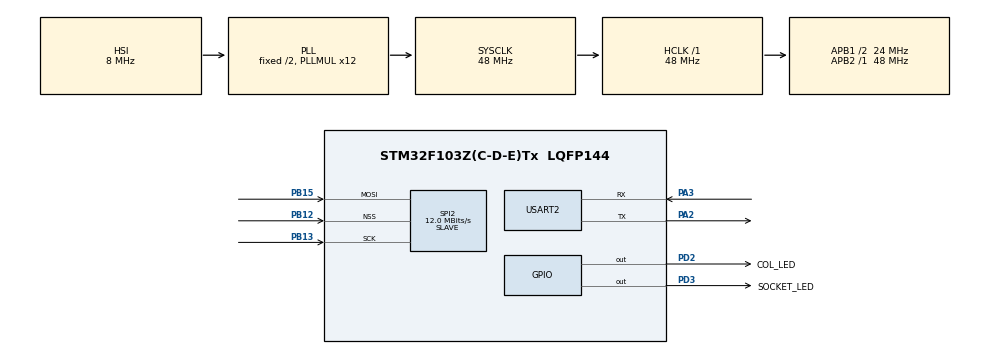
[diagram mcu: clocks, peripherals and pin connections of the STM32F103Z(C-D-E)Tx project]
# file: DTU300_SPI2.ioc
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Dma.Request0=SPI2_RX
Dma.SPI2_RX.0.Direction=DMA_PERIPH_TO_MEMORY
Dma.SPI2_RX.0.Instance=DMA1_Channel4
Dma.SPI2_RX.0.MemDataAlignment=DMA_MDATAALIGN_BYTE
Dma.SPI2_RX.0.MemInc=DMA_MINC_ENABLE
Dma.SPI2_RX.0.Mode=DMA_CIRCULAR
Dma.SPI2_RX.0.PeriphDataAlignment=DMA_PDATAALIGN_BYTE
Dma.SPI2_RX.0.PeriphInc=DMA_PINC_DISABLE
Dma.SPI2_RX.0.Priority=DMA_PRIORITY_LOW
Mcu.Family=STM32F1
Mcu.Name=STM32F103Z(C-D-E)Tx
Mcu.Package=LQFP144
NVIC.DMA1_Channel4_IRQn=true\:0\:0\:false\:false\:true\:false\:true
NVIC.PriorityGroup=NVIC_PRIORITYGROUP_4
PA13.Mode=Serial_Wire
PA13.Signal=SYS_JTMS-SWDIO
PA14.Mode=Serial_Wire
PA14.Signal=SYS_JTCK-SWCLK
PA2.Mode=Asynchronous
PA2.Signal=USART2_TX
PA3.Mode=Asynchronous
PA3.Signal=USART2_RX
PB12.Mode=NSS_Signal_Hard_Input
PB12.Signal=SPI2_NSS
PB13.Mode=RX_Only_Simplex_Unidirect_Slave
PB13.Signal=SPI2_SCK
PB15.Mode=RX_Only_Simplex_Unidirect_Slave
PB15.Signal=SPI2_MOSI
PD2.GPIO_Label=COL_LED
PD2.Signal=GPIO_Output
PD3.GPIO_Label=SOCKET_LED
PD3.Signal=GPIO_Output
ProjectManager.HeapSize=0x200
ProjectManager.StackSize=0x400
ProjectManager.TargetToolchain=TrueSTUDIO
RCC.AHBFreq_Value=48000000
RCC.APB1CLKDivider=RCC_HCLK_DIV2
RCC.APB1Freq_Value=24000000
RCC.APB1TimFreq_Value=48000000
RCC.APB2Freq_Value=48000000
RCC.APB2TimFreq_Value=48000000
RCC.HCLKFreq_Value=48000000
RCC.PLLMUL=RCC_PLL_MUL12
RCC.SYSCLKFreq_VALUE=48000000
RCC.SYSCLKSource=RCC_SYSCLKSOURCE_PLLCLK
RCC.USBFreq_Value=48000000
SPI2.CLKPhase=SPI_PHASE_1EDGE
SPI2.CLKPolarity=SPI_POLARITY_HIGH
SPI2.CalculateBaudRate=12.0 MBits/s
SPI2.Direction=SPI_DIRECTION_2LINES_RXONLY
SPI2.Mode=SPI_MODE_SLAVE
SPI2.VirtualNSS=VM_NSSHARD
SPI2.VirtualType=VM_SLAVE
USART2.VirtualMode=VM_ASYNC
board=custom

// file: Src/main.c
/* USER CODE BEGIN Header */
/**
  ******************************************************************************
  * @file           : main.c
  * @brief          : Main program body
  ******************************************************************************
  * @attention
  *
  * <h2><center>&copy; Copyright (c) 2019 STMicroelectronics.
  * All rights reserved.</center></h2>
  *
  * This software component is licensed by ST under BSD 3-Clause license,
  * the "License"; You may not use this file except in compliance with the
  * License. You may obtain a copy of the License at:
  *                        opensource.org/licenses/BSD-3-Clause
  *
  ******************************************************************************
  */
/* USER CODE END Header */

#include "main.h"

/* USER CODE BEGIN PM */
#define RX_BUF_SIZE 255
/* USER CODE END PM */

SPI_HandleTypeDef hspi2;
DMA_HandleTypeDef hdma_spi2_rx;

UART_HandleTypeDef huart2;

/* USER CODE BEGIN PV */
volatile uint8_t buf_index = 0;
uint8_t Tx[] = {0xFE, 0xED, 0x50, 0x11, 0x00, 0x00};
uint8_t Rx[255] = {0x00,};
/* USER CODE END PV */

void SystemClock_Config(void);
static void MX_GPIO_Init(void);
static void MX_DMA_Init(void);
static void MX_SPI2_Init(void);
static void MX_USART2_UART_Init(void);

/* USER CODE BEGIN 0 */
int _write(int file, char* p, int len)
{
  HAL_UART_Transmit(&huart2, p, len, 10);
  return len;
}
/* USER CODE END 0 */

int main(void)
{
  /* USER CODE BEGIN 1 */
  uint8_t i;
  /* USER CODE END 1 */

  /* MCU Configuration--------------------------------------------------------*/

  /* Reset of all peripherals, Initializes the Flash interface and the Systick. */
  HAL_Init();

  /* Configure the system clock */
  SystemClock_Config();

  /* Initialize all configured peripherals */
  MX_GPIO_Init();
  MX_DMA_Init();
  MX_SPI2_Init();
  MX_USART2_UART_Init();
  /* USER CODE BEGIN 2 */
  SPI2->CR2 |= 0x0040;    // RXNE interrupt enable
  SPI2->CR1 |= 0x0040;    // SPI enable

  SPI2->DR = Tx[0];       // Write initial byte

  HAL_SPI_Receive_DMA(&hspi2, Rx, RX_BUF_SIZE);
  /* USER CODE END 2 */

  /* Infinite loop */
  while (1)
  {

    /* USER CODE BEGIN 3 */
    HAL_GPIO_TogglePin(SOCKET_LED_GPIO_Port, SOCKET_LED_Pin);
    //printf("%X %d %d %d %d %d \r \n", Rx[0], Rx[1], Rx[2], Rx[3], Rx[4], Rx[5]);
    //printf("%X %X %X %X %X %X \r \n", Rx[0], Rx[1], Rx[2], Rx[3], Rx[4], Rx[5]);

    for(i=0; i<RX_BUF_SIZE; i++)
    {
      //SPI2->DR = Rx[i];
      printf("%2X ", Rx[i]);
    }
    printf("\r \n");

    //HAL_SPI_Transmit_IT(&hspi2, Rx, 6);
    HAL_Delay(200);
  }
  /* USER CODE END 3 */
}

void SystemClock_Config(void)
{
  RCC_OscInitTypeDef RCC_OscInitStruct = {0};
  RCC_ClkInitTypeDef RCC_ClkInitStruct = {0};

  /** Initializes the CPU, AHB and APB busses clocks
  */
  RCC_OscInitStruct.OscillatorType = RCC_OSCILLATORTYPE_HSI;
  RCC_OscInitStruct.HSIState = RCC_HSI_ON;
  RCC_OscInitStruct.HSICalibrationValue = RCC_HSICALIBRATION_DEFAULT;
  RCC_OscInitStruct.PLL.PLLState = RCC_PLL_ON;
  RCC_OscInitStruct.PLL.PLLSource = RCC_PLLSOURCE_HSI_DIV2;
  RCC_OscInitStruct.PLL.PLLMUL = RCC_PLL_MUL12;
  if (HAL_RCC_OscConfig(&RCC_OscInitStruct) != HAL_OK)
  {
    Error_Handler();
  }
  /** Initializes the CPU, AHB and APB busses clocks
  */
  RCC_ClkInitStruct.ClockType = RCC_CLOCKTYPE_HCLK|RCC_CLOCKTYPE_SYSCLK
                              |RCC_CLOCKTYPE_PCLK1|RCC_CLOCKTYPE_PCLK2;
  RCC_ClkInitStruct.SYSCLKSource = RCC_SYSCLKSOURCE_PLLCLK;
  RCC_ClkInitStruct.AHBCLKDivider = RCC_SYSCLK_DIV1;
  RCC_ClkInitStruct.APB1CLKDivider = RCC_HCLK_DIV2;
  RCC_ClkInitStruct.APB2CLKDivider = RCC_HCLK_DIV1;

  if (HAL_RCC_ClockConfig(&RCC_ClkInitStruct, FLASH_LATENCY_1) != HAL_OK)
  {
    Error_Handler();
  }
}

static void MX_SPI2_Init(void)
{

  /* SPI2 parameter configuration*/
  hspi2.Instance = SPI2;
  hspi2.Init.Mode = SPI_MODE_SLAVE;
  hspi2.Init.Direction = SPI_DIRECTION_2LINES_RXONLY;
  hspi2.Init.DataSize = SPI_DATASIZE_8BIT;
  hspi2.Init.CLKPolarity = SPI_POLARITY_HIGH;
  hspi2.Init.CLKPhase = SPI_PHASE_1EDGE;
  hspi2.Init.NSS = SPI_NSS_HARD_INPUT;
  hspi2.Init.BaudRatePrescaler = SPI_BAUDRATEPRESCALER_2;
  hspi2.Init.FirstBit = SPI_FIRSTBIT_MSB;
  hspi2.Init.TIMode = SPI_TIMODE_DISABLE;
  hspi2.Init.CRCCalculation = SPI_CRCCALCULATION_DISABLE;
  hspi2.Init.CRCPolynomial = 10;
  if (HAL_SPI_Init(&hspi2) != HAL_OK)
  {
    Error_Handler();
  }

}

static void MX_USART2_UART_Init(void)
{

  huart2.Instance = USART2;
  huart2.Init.BaudRate = 115200;
  huart2.Init.WordLength = UART_WORDLENGTH_8B;
  huart2.Init.StopBits = UART_STOPBITS_1;
  huart2.Init.Parity = UART_PARITY_NONE;
  huart2.Init.Mode = UART_MODE_TX_RX;
  huart2.Init.HwFlowCtl = UART_HWCONTROL_NONE;
  huart2.Init.OverSampling = UART_OVERSAMPLING_16;
  if (HAL_UART_Init(&huart2) != HAL_OK)
  {
    Error_Handler();
  }

}

static void MX_DMA_Init(void)
{
  /* DMA controller clock enable */
  __HAL_RCC_DMA1_CLK_ENABLE();

  /* DMA interrupt init */
  /* DMA1_Channel4_IRQn interrupt configuration */
  HAL_NVIC_SetPriority(DMA1_Channel4_IRQn, 0, 0);
  HAL_NVIC_EnableIRQ(DMA1_Channel4_IRQn);

}

static void MX_GPIO_Init(void)
{
  GPIO_InitTypeDef GPIO_InitStruct = {0};

  /* GPIO Ports Clock Enable */
  __HAL_RCC_GPIOA_CLK_ENABLE();
  __HAL_RCC_GPIOB_CLK_ENABLE();
  __HAL_RCC_GPIOD_CLK_ENABLE();

  /*Configure GPIO pin Output Level */
  HAL_GPIO_WritePin(GPIOD, COL_LED_Pin|SOCKET_LED_Pin, GPIO_PIN_RESET);

  /*Configure GPIO pins : COL_LED_Pin SOCKET_LED_Pin */
  GPIO_InitStruct.Pin = COL_LED_Pin|SOCKET_LED_Pin;
  GPIO_InitStruct.Mode = GPIO_MODE_OUTPUT_PP;
  GPIO_InitStruct.Pull = GPIO_NOPULL;
  GPIO_InitStruct.Speed = GPIO_SPEED_FREQ_LOW;
  HAL_GPIO_Init(GPIOD, &GPIO_InitStruct);

}

void Error_Handler(void)
{
}

/************************ (C) COPYRIGHT STMicroelectronics *****END OF FILE****/
